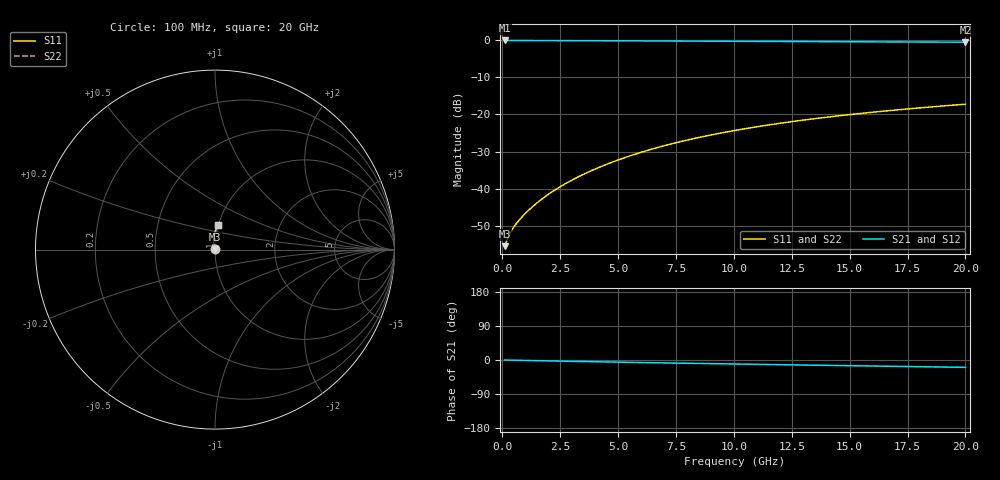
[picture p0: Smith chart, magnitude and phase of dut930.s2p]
! Touchstone file exported from HFSS 2024.1.0
!  File:  C:/UserFiles/LocalFiles/RDL_TSV_Batchsim/temp_RDL_top_930_1779937012.aedt
!  Generated:  10:59:33 AM May 28, 2026
!  Design:  RDL_top
!  Project:  temp_RDL_top_930_1779937012
!  Setup:  Setup1
!  Solution:  Sweep
! Variables:
!  dtsv = 10.80580581um
!  hbump = 3um
!  htsv = 64.22um
!  ldown = 100um
!  lrdl = 307.86um
!  p = 40
!  p1 = 42.15um
!  rhole = 1um
!  t = 450um
!  tdown = 3.915915916um
!  trdl = 2.97um
!  wdown = 15.38538539um
!  wrdl = 29.6um
# GHz S MA R 50.000000
! Terminal data exported
! Port[1] = Box2_T1
! Port[2] = Box2_T2
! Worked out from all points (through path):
!   200 points, 100 MHz to 20 GHz, reference 50 ohm
!   highest |S21| = -0.01 dB at 100 MHz (marker M1); lowest = -0.5 dB at 20 GHz (marker M2)
!   group delay of S21, straight-line fit = 2.64 ps
!   lowest |S11| = -55.6 dB at 100 MHz (marker M3), VSWR 1.00, Z = 50.2 + j0.0584 ohm
!   |S11| at or under -10 dB: start of sweep to end of sweep
!   |S22| runs from -55.6 to -17.2 dB; largest |S21 - S12| = 4e-15
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0.1  0.001667 20.4  0.9984 -0.1  0.9984 -0.1  0.001667 20.4
! Gamma 0 0 0 0
! Port Impedance 50 0 50 0
0.3  0.002367 41.1  0.9981 -0.4  0.9981 -0.4  0.002367 41.1
0.4  0.002711 46.3  0.998 -0.5  0.998 -0.5  0.002711 46.3
0.5  0.003035 50.6  0.9979 -0.6  0.9979 -0.6  0.003035 50.6
0.6  0.003347 54.2  0.9977 -0.7  0.9977 -0.7  0.003347 54.2
0.8  0.003973 60.6  0.9975 -1.0  0.9975 -1.0  0.003973 60.6
1.2  0.005309 70.5  0.997 -1.4  0.997 -1.4  0.005309 70.5
1.7  0.007174 79.0  0.9963 -2.0  0.9963 -2.0  0.007174 79.0
2.2  0.009244 84.9  0.9954 -2.6  0.9954 -2.6  0.009244 84.9
2.8  0.01199 89.9  0.9941 -3.3  0.9941 -3.3  0.01199 89.9
3.5  0.01554 93.8  0.9923 -4.1  0.9923 -4.1  0.01554 93.8
4.2  0.01944 96.3  0.9902 -4.8  0.9902 -4.8  0.01944 96.3
5  0.0243 98.1  0.9877 -5.7  0.9877 -5.7  0.0243 98.1
5.9  0.0302 98.9  0.9847 -6.6  0.9847 -6.6  0.0302 98.9
6.8  0.03646 99.1  0.9816 -7.5  0.9816 -7.5  0.03646 99.1
8.4  0.04824 98.2  0.9762 -9.1  0.9762 -9.1  0.04824 98.2
10.1  0.06128 96.3  0.9708 -10.7  0.9708 -10.7  0.06128 96.3
11.7  0.07378 94.3  0.9661 -12.1  0.9661 -12.1  0.07378 94.3
13.4  0.0871 92.0  0.9615 -13.6  0.9615 -13.6  0.0871 92.0
15  0.09957 89.8  0.9574 -15.1  0.9574 -15.1  0.09958 89.8
16.7  0.1127 87.5  0.9534 -16.5  0.9534 -16.5  0.1127 87.5
20  0.1376 83.2  0.946 -19.4  0.946 -19.4  0.1376 83.2
